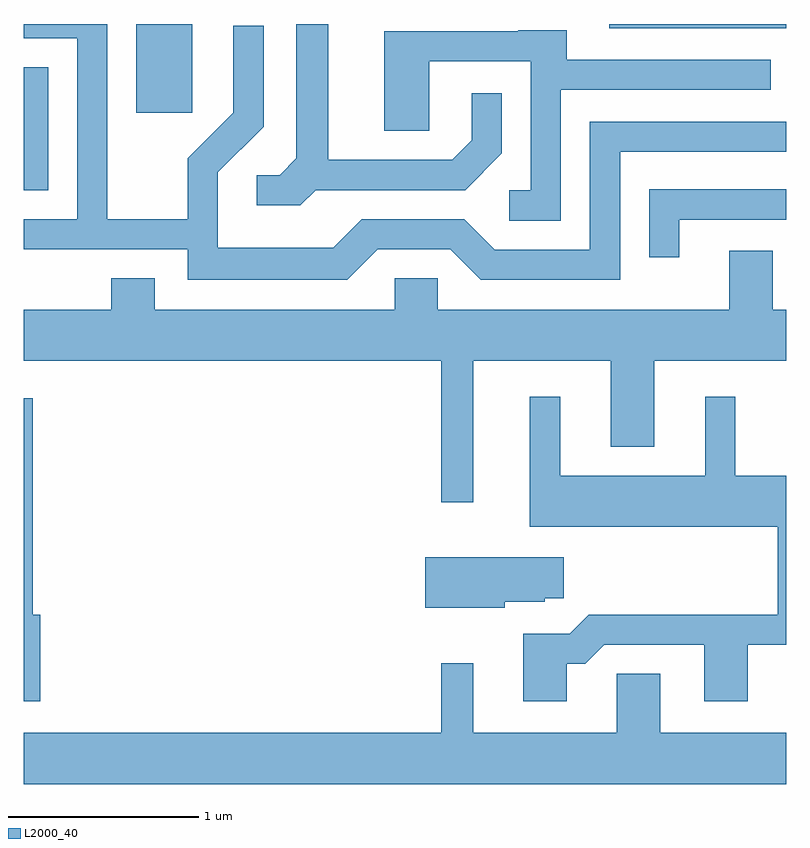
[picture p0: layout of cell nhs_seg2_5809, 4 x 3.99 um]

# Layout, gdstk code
import gdstk
lib = gdstk.Library(unit=1e-6, precision=1e-09)
def R(c, l, rs):  # rectangles x0, y0, x1, y1
    for r in rs: c.add(gdstk.rectangle(r[:2], r[2:], *l))
def P(c, l, *ps):  # polygons
    for p in ps: c.add(gdstk.Polygon(p, *l))
L2000_40 = (2000, 40)

nhs_seg2_5809 = lib.new_cell('nhs_seg2_5809')
R(nhs_seg2_5809, L2000_40, [(355.611,1106.931,355.739,1107.574), (356.201,1107.336,356.494,1107.802), (358.681,1107.781,359.611,1107.802)])
P(nhs_seg2_5809, L2000_40, [(357.142,1106.931),(357.927,1106.931),(358.119,1107.124),(358.119,1107.438),(357.961,1107.438),(357.961,1107.192),(357.859,1107.089),(357.209,1107.089),(357.209,1107.802),(357.041,1107.802),(357.041,1107.097),(356.954,1107.009),(356.833,1107.009),(356.833,1106.851),(357.062,1106.851)],
  [(357.467,1106.621),(357.849,1106.621),(358.009,1106.461),(358.739,1106.461),(358.739,1107.131),(359.611,1107.131),(359.611,1107.289),(358.581,1107.289),(358.581,1106.619),(358.082,1106.619),(357.922,1106.779),(357.384,1106.779),(357.234,1106.629),(356.629,1106.629),(356.629,1107.024),(356.869,1107.264),(356.869,1107.793),(356.711,1107.793),(356.711,1107.337),(356.471,1107.097),(356.471,1106.779),(356.049,1106.779),(356.049,1107.802),(355.611,1107.802),(355.611,1107.726),(355.891,1107.726),(355.891,1106.779),(355.611,1106.779),(355.611,1106.621),(356.471,1106.621),(356.471,1106.461),(357.307,1106.461)],
  [(358.429,1107.456),(359.528,1107.456),(359.528,1107.614),(358.459,1107.614),(358.459,1107.769),(358.205,1107.769),(358.205,1107.764),(357.501,1107.764),(357.501,1107.241),(357.739,1107.241),(357.739,1107.606),(358.271,1107.606),(358.271,1106.929),(358.158,1106.929),(358.158,1106.771),(358.429,1106.771)],
  [(359.049,1106.776),(359.611,1106.776),(359.611,1106.934),(358.891,1106.934),(358.891,1106.578),(359.049,1106.578)],
  [(357.969,1106.036),(358.691,1106.036),(358.691,1105.586),(358.919,1105.586),(358.919,1106.036),(359.611,1106.036),(359.611,1106.304),(359.539,1106.304),(359.539,1106.614),(359.311,1106.614),(359.311,1106.304),(357.784,1106.304),(357.784,1106.469),(357.556,1106.469),(357.556,1106.304),(356.299,1106.304),(356.299,1106.469),(356.071,1106.469),(356.071,1106.304),(355.611,1106.304),(355.611,1106.036),(357.801,1106.036),(357.801,1105.293),(357.969,1105.293)],
  [(358.459,1104.446),(358.557,1104.446),(358.657,1104.546),(359.181,1104.546),(359.181,1104.251),(359.409,1104.251),(359.409,1104.546),(359.611,1104.546),(359.611,1105.434),(359.344,1105.434),(359.344,1105.848),(359.186,1105.848),(359.186,1105.434),(358.424,1105.434),(358.424,1105.848),(358.266,1105.848),(358.266,1105.166),(359.566,1105.166),(359.566,1104.704),(358.574,1104.704),(358.474,1104.604),(358.231,1104.604),(358.231,1104.251),(358.459,1104.251)],
  [(355.699,1104.704),(355.659,1104.704),(355.659,1105.839),(355.611,1105.839),(355.611,1104.251),(355.699,1104.251)],
  [(358.134,1104.771),(358.344,1104.771),(358.344,1104.791),(358.444,1104.791),(358.444,1105.004),(357.716,1105.004),(357.716,1104.741),(358.134,1104.741)],
  [(359.611,1104.084),(358.949,1104.084),(358.949,1104.394),(358.721,1104.394),(358.721,1104.084),(357.969,1104.084),(357.969,1104.448),(357.801,1104.448),(357.801,1104.084),(355.611,1104.084),(355.611,1103.816),(359.611,1103.816)])

lib.write_gds('nhs_seg2_5809.gds')
